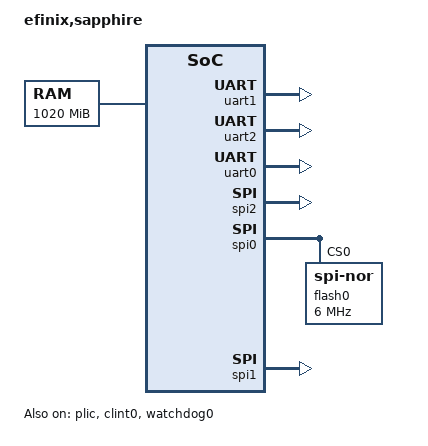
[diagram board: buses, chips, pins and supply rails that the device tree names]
/dts-v1/;
#include <config.h>
/include/ "sapphire.dtsi"

/ {
	#address-cells = <1>;
	#size-cells = <1>;
	model = "efinix,sapphire";

	
	memory {
		device_type = "memory";
		reg = <0x400000 0x3fc00000>;
	};
	
		
        chosen {
        	stdout-path = "serial0:115200n8";
        	bootargs = "console=ttyS0,115200n8";
        };
		
        aliases {
        	serial0 = &uart0;
        	spi0 = &spi0;
        };
	
	

        wdt-reboot {
        	compatible = "wdt-reboot";
        	clock-frequency = <200000000>;
        	wdt = <&watchdog0>;
        	status = "okay";
        };


};
&plic {
	device_type = "interrupt-controller";
	compatible = "sifive,plic-1.0.0";
	#interrupt-cells = <2>;
	riscv,ndev = <32>;
	status = "okay";
};

&clint0 {
	compatible = "riscv,clint0";
	status = "okay";
};


&uart1 {
	device_type = "serial";
	compatible = "riscv_sbi,uart";
	status = "okay";
};

&uart2 {
	device_type = "serial";
	compatible = "riscv_sbi,uart";
	status = "okay";
};

&uart0 {
	device_type = "serial";
	compatible = "riscv_sbi,uart";
	status = "okay";
};

&spi2 {
	compatible = "vexriscv,spi";
	status = "okay";
};

&spi0 {
	#address-cells = <1>;
	#size-cells = <0>;
	compatible = "vexriscv,spi";
	status = "okay";
	
        flash0: flash@0 {
                status = "okay";
        	reg = <0>;
        	compatible = "jedec,spi-nor";
        	spi-max-frequency = <6000000>;
        	disable-auto-4byte-addressing;
        };
};

&spi1 {
	compatible = "vexriscv,spi";
	status = "okay";
};

&watchdog0 {
	compatible = "efx,efx-wdt";
	status = "okay";
};

